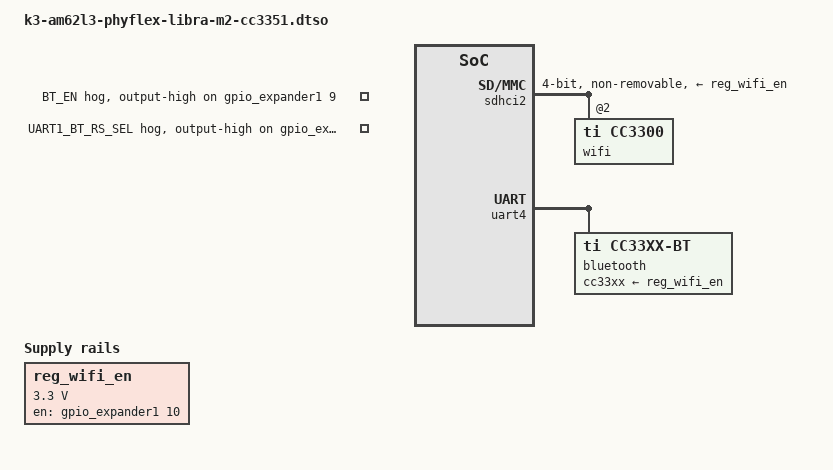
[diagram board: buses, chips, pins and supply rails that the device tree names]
// SPDX-License-Identifier: GPL-2.0-only OR MIT
/*
 * Copyright (C) 2026 PHYTEC Messtechnik GmbH
 * Author: Dominik Haller <d.haller@phytec.de>
 */

/dts-v1/;
/plugin/;

#include <dt-bindings/gpio/gpio.h>
#include "k3-pinctrl.h"

&{/} {
	reg_wifi_en: regulator-wifi-en {
		compatible = "regulator-fixed";
		enable-active-high;
		gpio = <&gpio_expander1 10 GPIO_ACTIVE_HIGH>;
		regulator-always-on;
		regulator-max-microvolt = <3300000>;
		regulator-min-microvolt = <3300000>;
		regulator-name = "wifi_en";
	};
};

&gpio_expander1 {
	bt-en-hog {
		/* X_W_nDISABLE1 */
		gpio-hog;
		gpios = <9 GPIO_ACTIVE_HIGH>;
		output-high;
		line-name = "BT_EN";
	};

	uart1-bt-rs-sel-hog {
		/* FPSC UART1 set to Bluetooth */
		gpio-hog;
		gpios = <14 GPIO_ACTIVE_HIGH>;
		output-high;
		line-name = "UART1_BT_RS_SEL";
	};
};

&pmx0 {
	mmc2_wifi_pins_default: mmc2-wifi-default-pins {
		pinctrl-single,pins = <
			AM62LX_IOPAD(0x010c, PIN_INPUT, 0) /* (U23) MMC2_CMD */
			AM62LX_IOPAD(0x0104, PIN_OUTPUT, 0) /* (R23) MMC2_CLK */
			AM62LX_IOPAD(0x0108, PIN_INPUT, 0) /* () MMC2_CLKLB */
			AM62LX_IOPAD(0x0100, PIN_INPUT, 0) /* (U22) MMC2_DAT0 */
			AM62LX_IOPAD(0x00fc, PIN_INPUT, 0) /* (T22) MMC2_DAT1 */
			AM62LX_IOPAD(0x00f8, PIN_INPUT, 0) /* (T23) MMC2_DAT2 */
			AM62LX_IOPAD(0x00f4, PIN_INPUT, 0) /* (R22) MMC2_DAT3 */
		>;
	};
};

&sdhci2 {
	#address-cells = <1>;
	#size-cells = <0>;
	bus-width = <4>;
	cap-power-off-card;
	keep-power-in-suspend;
	non-removable;
	pinctrl-0 = <&mmc2_wifi_pins_default>;
	pinctrl-names = "default";
	sd-uhs-sdr50;
	sd-uhs-sdr104;
	vmmc-supply = <&reg_wifi_en>;
	vqmmc-supply = <&buck2_reg>;
	ti,fails-without-test-cd;
	status = "okay";

	wifi: wifi@2 {
		compatible = "ti,cc3300";
		reg = <2>;
	};
};

&uart4 {
	bluetooth {
		compatible = "ti,cc33xx-bt";
		max-speed = <115200>;
		cc33xx-supply = <&reg_wifi_en>;
	};
};
